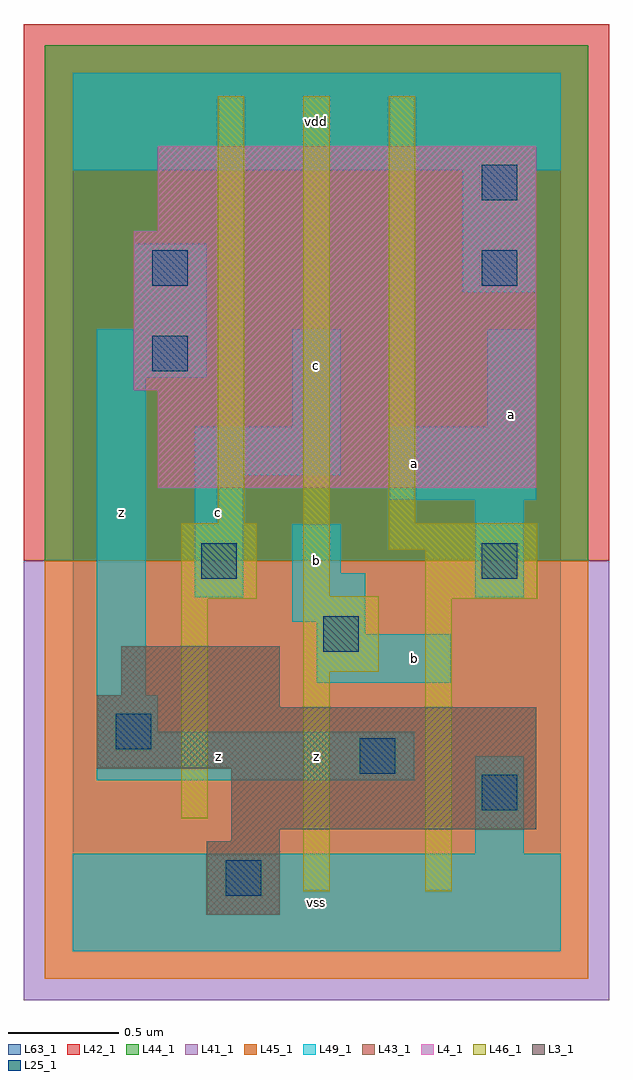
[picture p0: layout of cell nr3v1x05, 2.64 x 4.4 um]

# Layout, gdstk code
import gdstk
lib = gdstk.Library(unit=1e-6, precision=1e-09)
def R(c, l, rs):  # rectangles x0, y0, x1, y1
    for r in rs: c.add(gdstk.rectangle(r[:2], r[2:], *l))
L3_1 = (3, 1)
L4_1 = (4, 1)
L25_1 = (25, 1)
L41_1 = (41, 1)
L42_1 = (42, 1)
L43_1 = (43, 1)
L44_1 = (44, 1)
L45_1 = (45, 1)
L46_1 = (46, 1)
L49_1 = (49, 1)
L63_1 = (63, 1)

nr3v1x05 = lib.new_cell('nr3v1x05')
R(nr3v1x05, L3_1, [(0.605,0.165,0.935,0.495), (0.715,0.495,0.935,0.55), (0.715,0.55,2.09,0.825), (0.11,0.825,2.09,1.1), (0.11,1.1,0.935,1.155), (0.22,1.155,0.935,1.375)])
R(nr3v1x05, L4_1, [(0.385,2.09,2.09,2.53), (0.275,2.53,2.09,3.245), (0.385,3.245,2.09,3.63)])
R(nr3v1x05, L25_1, [(0.69,0.25,0.85,0.41), (1.845,0.635,2.005,0.795), (1.295,0.8,1.455,0.96), (0.195,0.91,0.355,1.07), (1.13,1.35,1.29,1.51), (0.58,1.68,0.74,1.84), (1.845,1.68,2.005,1.84), (0.36,2.615,0.52,2.775), (0.36,3,0.52,3.16), (1.845,3,2.005,3.16), (1.845,3.385,2.005,3.545)])
R(nr3v1x05, L41_1, [(-0.22,-0.22,2.42,1.76)])
R(nr3v1x05, L42_1, [(-0.22,1.76,2.42,4.18)])
R(nr3v1x05, L43_1, [(0.605,0.165,0.935,0.495), (0.715,0.495,0.935,0.55), (0.715,0.55,2.09,0.825), (0.11,0.825,2.09,1.1), (0.11,1.1,0.935,1.155), (0.22,1.155,0.935,1.375), (0.385,2.09,2.09,2.53), (0.275,2.53,2.09,3.245), (0.385,3.245,2.09,3.63)])
R(nr3v1x05, L44_1, [(-0.125,1.76,2.325,4.085)])
R(nr3v1x05, L45_1, [(-0.125,-0.125,2.325,1.76)])
R(nr3v1x05, L46_1, [(1.04,0.27,1.16,1.26), (1.59,0.27,1.71,1.59), (0.49,0.6,0.61,1.59), (1.04,1.26,1.38,1.6), (0.49,1.59,0.83,1.93), (1.59,1.59,2.095,1.81), (1.04,1.6,1.16,3.855), (1.425,1.81,2.095,1.93), (0.655,1.93,0.775,3.855), (1.425,1.93,1.545,3.855)])
R(nr3v1x05, L49_1, [(0,0,2.2,0.44), (1.815,0.44,2.035,0.88), (0.11,0.77,1.54,0.99), (0.11,0.99,0.385,1.155), (0.11,1.155,0.33,2.585), (1.1,1.21,1.705,1.43), (1.1,1.43,1.32,1.485), (0.99,1.485,1.32,1.705), (0.55,1.595,0.77,2.145), (1.815,1.595,2.035,2.035), (0.99,1.705,1.21,1.925), (1.43,2.035,2.09,2.365), (0.55,2.145,1.21,2.365), (0.99,2.365,1.21,2.805), (1.87,2.365,2.09,2.805), (0.11,2.585,0.605,2.805), (0.275,2.805,0.605,3.19), (1.76,2.97,2.09,3.52), (0,3.52,2.2,3.96)])
R(nr3v1x05, L63_1, [(0,0,2.2,3.96)])
nr3v1x05.add(gdstk.Label('z', (0.22,1.98), layer=49, texttype=1))
nr3v1x05.add(gdstk.Label('z', (0.66,0.88), layer=49, texttype=1))
nr3v1x05.add(gdstk.Label('c', (0.66,1.98), layer=49, texttype=1))
nr3v1x05.add(gdstk.Label('vss', (1.1,0.22), layer=49, texttype=1))
nr3v1x05.add(gdstk.Label('vss', (1.1,0.22), layer=49, texttype=1))
nr3v1x05.add(gdstk.Label('z', (1.1,0.88), layer=49, texttype=1))
nr3v1x05.add(gdstk.Label('b', (1.1,1.76), layer=49, texttype=1))
nr3v1x05.add(gdstk.Label('b', (1.54,1.32), layer=49, texttype=1))
nr3v1x05.add(gdstk.Label('a', (1.54,2.2), layer=49, texttype=1))
nr3v1x05.add(gdstk.Label('c', (1.1,2.64), layer=49, texttype=1))
nr3v1x05.add(gdstk.Label('vdd', (1.1,3.74), layer=49, texttype=1))
nr3v1x05.add(gdstk.Label('vdd', (1.1,3.74), layer=49, texttype=1))
nr3v1x05.add(gdstk.Label('a', (1.98,2.42), layer=49, texttype=1))

lib.write_gds('nr3v1x05.gds')
